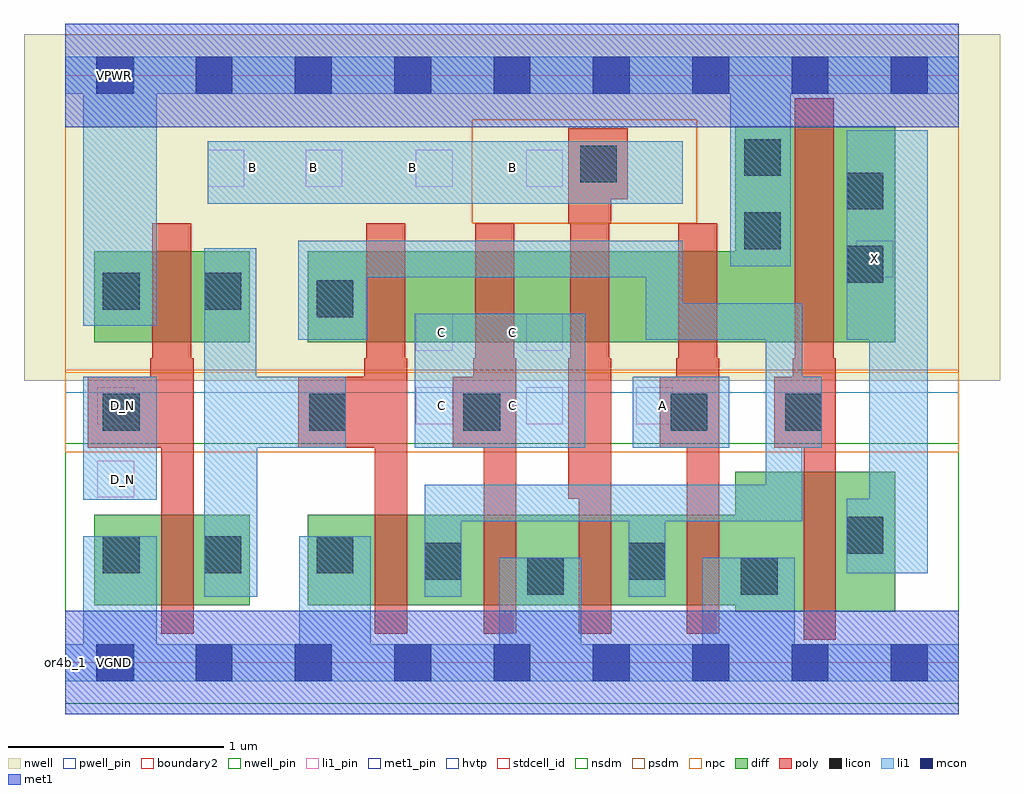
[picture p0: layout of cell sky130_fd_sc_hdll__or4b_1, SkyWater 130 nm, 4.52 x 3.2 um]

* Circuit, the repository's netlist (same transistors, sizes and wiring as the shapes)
* Copyright 2020 The SkyWater PDK Authors
*
* Licensed under the Apache License, Version 2.0 (the "License");
* you may not use this file except in compliance with the License.
* You may obtain a copy of the License at
*
*     https://www.apache.org/licenses/LICENSE-2.0
*
* Unless required by applicable law or agreed to in writing, software
* distributed under the License is distributed on an "AS IS" BASIS,
* WITHOUT WARRANTIES OR CONDITIONS OF ANY KIND, either express or implied.
* See the License for the specific language governing permissions and
* limitations under the License.
*
* SPDX-License-Identifier: Apache-2.0

.SUBCKT sky130_fd_sc_hdll__or4b_1 A B C D_N VGND VNB VPB VPWR X
*.PININFO A:I B:I C:I D_N:I VGND:I VNB:I VPB:I VPWR:I X:O
MMP0 VPWR A sndPA VPB sky130_fd_pr__pfet_01v8_hvt m=1 w=0.42U l=0.18U mult=1 sa=0.265
+ sb=0.265 sd=0.28 area=0.063 perim=1.14
MMP1 sndPA B sndPB VPB sky130_fd_pr__pfet_01v8_hvt m=1 w=0.42U l=0.18U mult=1 sa=0.265
+ sb=0.265 sd=0.28 area=0.063 perim=1.14
MMP2 sndPB C sndPC VPB sky130_fd_pr__pfet_01v8_hvt m=1 w=0.42U l=0.18U mult=1 sa=0.265
+ sb=0.265 sd=0.28 area=0.063 perim=1.14
MMP3 sndPC D y VPB sky130_fd_pr__pfet_01v8_hvt m=1 w=0.42U l=0.18U mult=1 sa=0.265
+ sb=0.265 sd=0.28 area=0.063 perim=1.14
MMIP3 D D_N VPWR VPB sky130_fd_pr__pfet_01v8_hvt m=1 w=0.42U l=0.18U mult=1 sa=0.265
+ sb=0.265 sd=0.28 area=0.063 perim=1.14
MMIP4 X y VPWR VPB sky130_fd_pr__pfet_01v8_hvt m=1 w=1.0U l=0.18U mult=1 sa=0.265
+ sb=0.265 sd=0.28 area=0.063 perim=1.14
MMN0 y A VGND VNB sky130_fd_pr__nfet_01v8 m=1 w=0.42U l=0.15U mult=1 sa=0.265 sb=0.265
+ sd=0.28 area=0.063 perim=1.14
MMN1 y B VGND VNB sky130_fd_pr__nfet_01v8 m=1 w=0.42U l=0.15U mult=1 sa=0.265 sb=0.265
+ sd=0.28 area=0.063 perim=1.14
MMN2 y C VGND VNB sky130_fd_pr__nfet_01v8 m=1 w=0.42U l=0.15U mult=1 sa=0.265 sb=0.265
+ sd=0.28 area=0.063 perim=1.14
MMN3 y D VGND VNB sky130_fd_pr__nfet_01v8 m=1 w=0.42U l=0.15U mult=1 sa=0.265 sb=0.265
+ sd=0.28 area=0.063 perim=1.14
MMIN3 D D_N VGND VNB sky130_fd_pr__nfet_01v8 m=1 w=0.42U l=0.15U mult=1 sa=0.265
+ sb=0.265 sd=0.28 area=0.063 perim=1.14
MMIN4 X y VGND VNB sky130_fd_pr__nfet_01v8 m=1 w=0.65U l=0.15U mult=1 sa=0.265
+ sb=0.265 sd=0.28 area=0.063 perim=1.14
.ENDS sky130_fd_sc_hdll__or4b_1

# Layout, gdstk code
import gdstk
lib = gdstk.Library(unit=1e-6, precision=1e-09)
def R(c, l, rs):  # rectangles x0, y0, x1, y1
    for r in rs: c.add(gdstk.rectangle(r[:2], r[2:], *l))
def A(c, l, x, y, w, h, nx, ny, dx, dy):  # array of equal rectangles
    R(c, l, [(x+i*dx, y+j*dy, x+i*dx+w, y+j*dy+h) for i in range(nx) for j in range(ny)])
def P(c, l, *ps):  # polygons
    for p in ps: c.add(gdstk.Polygon(p, *l))
nwell_pin = (64, 16)
nwell = (64, 20)
diff = (65, 20)
poly = (66, 20)
licon = (66, 44)
li1_pin = (67, 16)
li1 = (67, 20)
mcon = (67, 44)
met1_pin = (68, 16)
met1 = (68, 20)
hvtp = (78, 44)
stdcell_id = (81, 4)
nsdm = (93, 44)
psdm = (94, 20)
npc = (95, 20)
pwell_pin = (122, 16)
boundary2 = (236, 0)

sky130_fd_sc_hdll__or4b_ = lib.new_cell('sky130_fd_sc_hdll__or4b_1')
R(sky130_fd_sc_hdll__or4b_, nwell_pin, [(0.15,2.635,0.32,2.805)])
R(sky130_fd_sc_hdll__or4b_, nwell, [(-0.19,1.305,4.33,2.91)])
R(sky130_fd_sc_hdll__or4b_, diff, [(0.135,0.265,0.855,0.685), (0.135,1.485,0.855,1.905)])
P(sky130_fd_sc_hdll__or4b_, diff, [(3.845,2.485),(3.105,2.485),(3.105,1.905),(1.125,1.905),(1.125,1.485),(3.845,1.485)],
  [(3.845,0.885),(3.105,0.885),(3.105,0.685),(1.125,0.685),(1.125,0.265),(3.105,0.265),(3.105,0.235),(3.845,0.235)])
P(sky130_fd_sc_hdll__or4b_, poly, [(0.595,1.41),(0.585,1.41),(0.585,2.035),(0.405,2.035),(0.405,1.41),(0.395,1.41),(0.395,1.325),(0.105,1.325),(0.105,0.995),(0.445,0.995),(0.445,0.135),(0.595,0.135)],
  [(1.585,1.41),(1.575,1.41),(1.575,2.035),(1.395,2.035),(1.395,1.41),(1.385,1.41),(1.385,1.325),(1.08,1.325),(1.08,0.995),(1.435,0.995),(1.435,0.135),(1.585,0.135)],
  [(2.09,1.41),(2.08,1.41),(2.08,2.035),(1.9,2.035),(1.9,1.41),(1.89,1.41),(1.89,1.325),(1.795,1.325),(1.795,0.995),(1.94,0.995),(1.94,0.135),(2.09,0.135)],
  [(2.605,2.475),(2.33,2.475),(2.33,2.035),(2.34,2.035),(2.34,1.41),(2.33,1.41),(2.33,0.76),(2.38,0.76),(2.38,0.135),(2.53,0.135),(2.53,1.41),(2.52,1.41),(2.52,2.035),(2.53,2.035),(2.53,2.145),(2.605,2.145)],
  [(3.03,1.41),(3.02,1.41),(3.02,2.035),(2.84,2.035),(2.84,1.41),(2.83,1.41),(2.83,1.325),(2.755,1.325),(2.755,0.995),(2.88,0.995),(2.88,0.135),(3.03,0.135)],
  [(3.57,1.41),(3.56,1.41),(3.56,2.615),(3.38,2.615),(3.38,1.41),(3.37,1.41),(3.37,1.325),(3.285,1.325),(3.285,0.995),(3.42,0.995),(3.42,0.105),(3.57,0.105)])
R(sky130_fd_sc_hdll__or4b_, licon, [(2.14,0.315,2.31,0.485), (3.13,0.315,3.3,0.485), (1.665,0.385,1.835,0.555), (2.61,0.385,2.78,0.555), (0.175,0.415,0.345,0.585), (0.645,0.415,0.815,0.585), (1.165,0.415,1.335,0.585), (3.62,0.505,3.79,0.675), (0.175,1.075,0.345,1.245), (1.13,1.075,1.3,1.245), (1.845,1.075,2.015,1.245), (2.805,1.075,2.975,1.245), (3.335,1.075,3.505,1.245), (1.165,1.6,1.335,1.77), (0.175,1.635,0.345,1.805), (0.645,1.635,0.815,1.805), (3.62,1.76,3.79,1.93), (3.145,1.915,3.315,2.085), (3.62,2.1,3.79,2.27), (2.385,2.225,2.555,2.395), (3.145,2.255,3.315,2.425)])
A(sky130_fd_sc_hdll__or4b_, li1_pin, 1.625, 1.105, 0.17, 0.17, 3, 1, 0.51, 0)
A(sky130_fd_sc_hdll__or4b_, li1_pin, 1.115, 2.205, 0.17, 0.17, 3, 1, 0.51, 0)
R(sky130_fd_sc_hdll__or4b_, li1_pin, [(0.15,0.765,0.32,0.935), (0.15,1.105,0.32,1.275), (1.625,1.445,1.795,1.615), (2.135,1.445,2.305,1.615), (3.665,1.785,3.835,1.955), (0.66,2.205,0.83,2.375)])
R(sky130_fd_sc_hdll__or4b_, li1, [(0.085,0.755,0.425,1.325), (1.62,0.995,2.41,1.615), (2.63,0.995,3.075,1.325), (0.66,2.125,2.86,2.415)])
P(sky130_fd_sc_hdll__or4b_, li1, [(3.995,2.465),(3.62,2.465),(3.62,1.495),(3.725,1.495),(3.725,0.76),(3.62,0.76),(3.62,0.415),(3.995,0.415)],
  [(3.505,1.325),(3.415,1.325),(3.415,1.665),(2.86,1.665),(2.86,1.955),(1.08,1.955),(1.08,1.495),(1.4,1.495),(1.4,1.785),(2.69,1.785),(2.69,1.495),(3.245,1.495),(3.245,0.825),(1.665,0.825),(1.665,0.305),(1.835,0.305),(1.835,0.655),(2.61,0.655),(2.61,0.305),(2.78,0.305),(2.78,0.655),(3.415,0.655),(3.415,0.995),(3.505,0.995)],
  [(1.3,1.325),(0.885,1.325),(0.885,1.92),(0.645,1.92),(0.645,0.305),(0.89,0.305),(0.89,0.995),(1.3,0.995)],
  [(4.14,2.805),(0,2.805),(0,2.635),(0.085,2.635),(0.085,1.56),(0.425,1.56),(0.425,2.635),(3.08,2.635),(3.08,1.835),(3.36,1.835),(3.36,2.635),(4.14,2.635)],
  [(4.14,0.085),(3.38,0.085),(3.38,0.485),(2.95,0.485),(2.95,0.085),(2.39,0.085),(2.39,0.485),(2.01,0.485),(2.01,0.085),(1.415,0.085),(1.415,0.585),(1.085,0.585),(1.085,0.085),(0.425,0.085),(0.425,0.585),(0.085,0.585),(0.085,0.085),(0,0.085),(0,-0.085),(4.14,-0.085)])
A(sky130_fd_sc_hdll__or4b_, mcon, 0.145, -0.085, 0.17, 0.17, 9, 2, 0.46, 2.72)
R(sky130_fd_sc_hdll__or4b_, met1_pin, [(0.15,-0.085,0.32,0.085), (0.15,2.635,0.32,2.805)])
R(sky130_fd_sc_hdll__or4b_, met1, [(0,-0.24,4.14,0.24), (0,2.48,4.14,2.96)])
R(sky130_fd_sc_hdll__or4b_, hvtp, [(0,1.25,4.14,2.72)])
R(sky130_fd_sc_hdll__or4b_, stdcell_id, [(0,0,4.14,2.72)])
R(sky130_fd_sc_hdll__or4b_, nsdm, [(0,-0.19,4.14,1.015)])
P(sky130_fd_sc_hdll__or4b_, psdm, [(4.14,2.91),(2.925,2.91),(2.925,2.035),(1.885,2.035),(1.885,2.515),(2.925,2.515),(2.925,2.91),(0,2.91),(0,1.355),(4.14,1.355)])
R(sky130_fd_sc_hdll__or4b_, npc, [(0,0.975,4.14,1.345), (1.885,2.035,2.925,2.515)])
R(sky130_fd_sc_hdll__or4b_, pwell_pin, [(0.15,-0.085,0.32,0.085)])
R(sky130_fd_sc_hdll__or4b_, boundary2, [(0,0,4.14,2.72)])
sky130_fd_sc_hdll__or4b_.add(gdstk.Label('B', (0.87,2.295), layer=67, texttype=5))
sky130_fd_sc_hdll__or4b_.add(gdstk.Label('D_N', (0.265,0.85), layer=67, texttype=5))
sky130_fd_sc_hdll__or4b_.add(gdstk.Label('B', (1.61,2.295), layer=67, texttype=5))
sky130_fd_sc_hdll__or4b_.add(gdstk.Label('B', (1.15,2.295), layer=67, texttype=5))
sky130_fd_sc_hdll__or4b_.add(gdstk.Label('A', (2.765,1.19), layer=67, texttype=5))
sky130_fd_sc_hdll__or4b_.add(gdstk.Label('X', (3.75,1.87), layer=67, texttype=5))
sky130_fd_sc_hdll__or4b_.add(gdstk.Label('C', (2.07,1.19), layer=67, texttype=5))
sky130_fd_sc_hdll__or4b_.add(gdstk.Label('C', (1.745,1.19), layer=67, texttype=5))
sky130_fd_sc_hdll__or4b_.add(gdstk.Label('B', (2.07,2.295), layer=67, texttype=5))
sky130_fd_sc_hdll__or4b_.add(gdstk.Label('C', (2.07,1.53), layer=67, texttype=5))
sky130_fd_sc_hdll__or4b_.add(gdstk.Label('D_N', (0.265,1.19), layer=67, texttype=5))
sky130_fd_sc_hdll__or4b_.add(gdstk.Label('C', (1.745,1.53), layer=67, texttype=5))
sky130_fd_sc_hdll__or4b_.add(gdstk.Label('VPWR', (0.23,2.72), layer=68, texttype=5))
sky130_fd_sc_hdll__or4b_.add(gdstk.Label('VGND', (0.23,0), layer=68, texttype=5))
sky130_fd_sc_hdll__or4b_.add(gdstk.Label('VPB', (0.235,2.72), layer=64, texttype=5))
sky130_fd_sc_hdll__or4b_.add(gdstk.Label('VNB', (0.235,0), layer=64, texttype=59))
sky130_fd_sc_hdll__or4b_.add(gdstk.Label('or4b_1', (0,0), layer=83, texttype=44))

lib.write_gds('sky130_fd_sc_hdll__or4b_1.gds')
